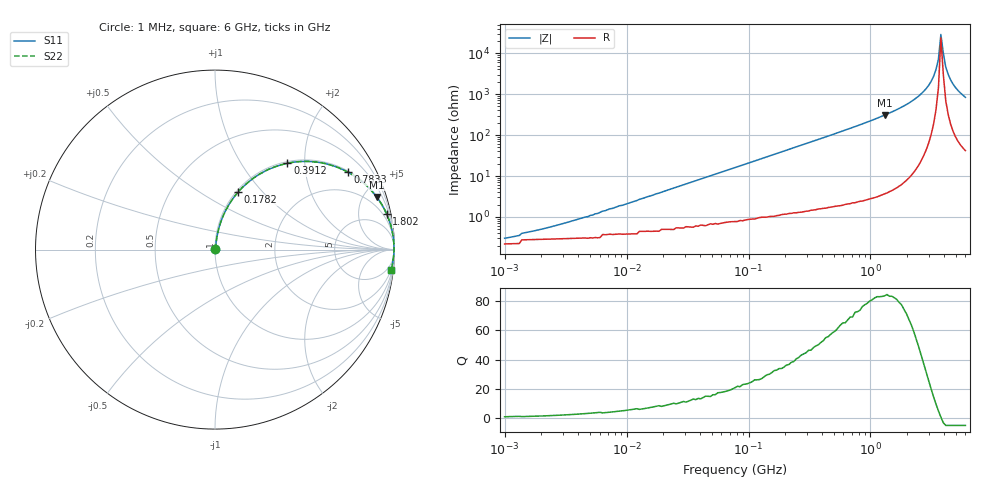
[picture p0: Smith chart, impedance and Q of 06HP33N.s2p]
# MHz S MA R 50
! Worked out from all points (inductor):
!   189 points, 1 MHz to 6 GHz, reference 50 ohm
!   read as one part in series: L = 33 nH near 4.605 MHz
!   highest Q = 83.5 at 1.303 GHz (marker M1), where L = 37.4 nH
!   self-resonance near 3.777 GHz
!   S11 on the Smith chart (normalised r, x): 1 MHz: 1.00, +0.00; 178.2 MHz: 1.02, +0.74; 391.2 MHz: 1.03, +1.64; 783.3 MHz: 1.05, +3.39; 1.802 GHz: 1.11, +9.63; 6 GHz: 2, -17
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1  0.003162 40.7  0.998 -0.1  0.998 -0.1  0.003162 40.7
2.002  0.004931 56.9  0.997 -0.2  0.997 -0.2  0.004931 56.9
4.396  0.009617 70.4  0.997 -0.5  0.997 -0.5  0.009617 70.4
18.454  0.038 80.8  0.995 -2.2  0.995 -2.2  0.038 80.8
77.46  0.158 78.1  0.98 -9.1  0.98 -9.1  0.158 78.1
178.161  0.344 68.2  0.929 -20.1  0.929 -20.1  0.344 68.2
340.538  0.574 53.8  0.807 -35.0  0.807 -35.0  0.574 53.8
391.25  0.628 50.0  0.766 -38.9  0.766 -38.9  0.628 50.0
783.255  0.856 30.3  0.505 -58.9  0.505 -58.9  0.856 30.3
1303.062  0.947 18.0  0.309 -71.3  0.309 -71.3  0.947 18.0
1429.415  0.957 16.1  0.277 -73.2  0.277 -73.2  0.957 16.1
1801.528  0.977 11.7  0.203 -77.6  0.203 -77.6  0.977 11.7
2490.674  0.992 6.3  0.11 -82.5  0.11 -82.5  0.992 6.3
3139.06  0.996 2.8  0.049 -84.3  0.049 -84.3  0.996 2.8
3443.441  0.997 1.5  0.025 -82.6  0.025 -82.6  0.997 1.5
3606.527  0.997 0.8  0.014 -77.8  0.014 -77.8  0.997 0.8
3777.337  0.997 0.1  0.003482 -33.4  0.003482 -33.4  0.997 0.1
3956.237  0.997 -0.6  0.01 72.0  0.01 72.0  0.997 -0.6
4143.61  0.997 -1.2  0.022 80.1  0.022 80.1  0.997 -1.2
4339.857  0.996 -1.9  0.033 82.1  0.033 82.1  0.996 -1.9
4986.147  0.993 -3.9  0.069 82.5  0.069 82.5  0.993 -3.9
6000  0.987 -6.8  0.118 80.4  0.118 80.4  0.987 -6.8
